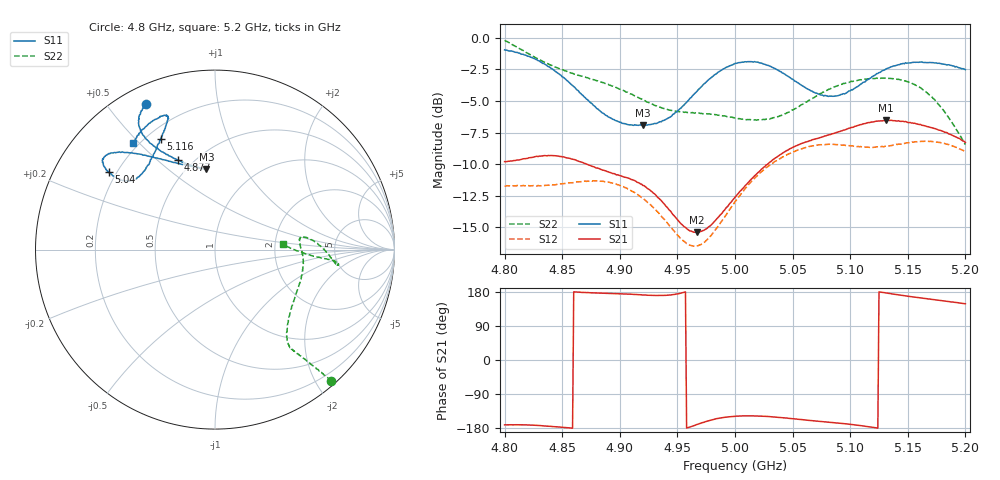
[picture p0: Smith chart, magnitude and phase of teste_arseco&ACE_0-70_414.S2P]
! Network Analyzer HP8722D
! Hewlett-Packard
! Data name: Linha & Wilkinson
! Saver's name: Rodrigo Anjos
! Comments: Teste da utilização de aquisição
! continua pelo VNA HP8722D
! Time and date: 8/5/2025 16:12
!  Frequency  S11  S21  S12  S22
# HZ  S  MA R 50
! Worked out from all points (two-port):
!   401 points, 4.8 GHz to 5.2 GHz, reference 50 ohm
!   highest |S21| = -6.52 dB at 5.131 GHz (marker M1); lowest = -15.4 dB at 4.967 GHz (marker M2)
!   |S21| within 3 dB of the highest: 4.821 GHz to 4.855 GHz (34.66 MHz wide, 0.716 % of centre); 5.035 GHz to end of sweep
!   lowest |S11| = -6.9 dB at 4.92 GHz (marker M3), VSWR 2.63, Z = 30.7 + j34.5 ohm
!   |S11| at or under -10 dB: nowhere
!   |S22| runs from -8.5 to -0.2 dB; largest |S21 - S12| = 0.83
!   S11 on the Smith chart (normalised r, x): 4.8 GHz: 0.08, +0.63; 4.877 GHz: 0.42, +0.59; 5.04 GHz: 0.17, +0.32; 5.116 GHz: 0.25, +0.59; 5.2 GHz: 0.18, +0.48
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4.8e9  0.8958 115.4  0.3235 -171.1  0.2587 -86.5  0.9758 -48.4
4.834e9  0.7909 121.8  0.3416 -173.8  0.2602 -77.5  0.8029 -50.5
4.85e9  0.7004 121.5  0.3378 -177.7  0.2644 -72.3  0.7466 -51.4
4.867e9  0.5956 117.1  0.3218 178.3  0.2698 -68.4  0.7054 -52.3
4.877e9  0.5403 112.5  0.3089 177.2  0.2718 -67.5  0.6827 -52.5
4.901e9  0.4629 100.0  0.2838 174.9  0.2592 -68.3  0.6245 -50.2
4.92e9  0.4497 96.1  0.2604 171.5  0.2319 -70.4  0.5682 -44.1
4.934e9  0.4635 100.6  0.2315 170.3  0.202 -70.4  0.5314 -36.4
4.955e9  0.5382 115.5  0.1803 177.8  0.1575 -60.6  0.5087 -22.5
4.967e9  0.6139 123.4  0.1698 -170.1  0.1501 -47.4  0.5034 -15.5
4.978e9  0.6877 129.1  0.1795 -159.7  0.163 -35.1  0.4993 -9.9
5e9  0.7911 137.1  0.2338 -148.6  0.2246 -22.0  0.4814 -0.2
5.019e9  0.8015 141.4  0.29 -147.8  0.2833 -19.8  0.4721 5.5
5.04e9  0.7331 143.9  0.3462 -151.8  0.3347 -20.1  0.4923 8.2
5.067e9  0.6153 141.3  0.3948 -159.9  0.3733 -22.5  0.5742 3.1
5.088e9  0.5894 132.5  0.422 -165.9  0.3774 -25.6  0.6438 -3.6
5.116e9  0.6866 116.1  0.4618 -176.3  0.3688 -28.6  0.6873 -7.1
5.131e9  0.752 111.1  0.4721 177.0  0.3727 -30.2  0.6921 -6.7
5.134e9  0.7617 110.3  0.4704 175.7  0.3733 -30.6  0.6908 -6.5
5.162e9  0.8024 112.6  0.4508 163.5  0.3893 -37.5  0.6292 -4.9
5.18e9  0.787 119.0  0.4271 156.5  0.3829 -43.2  0.5227 -3.2
5.2e9  0.748 127.6  0.3854 148.3  0.3544 -48.6  0.3774 4.5
